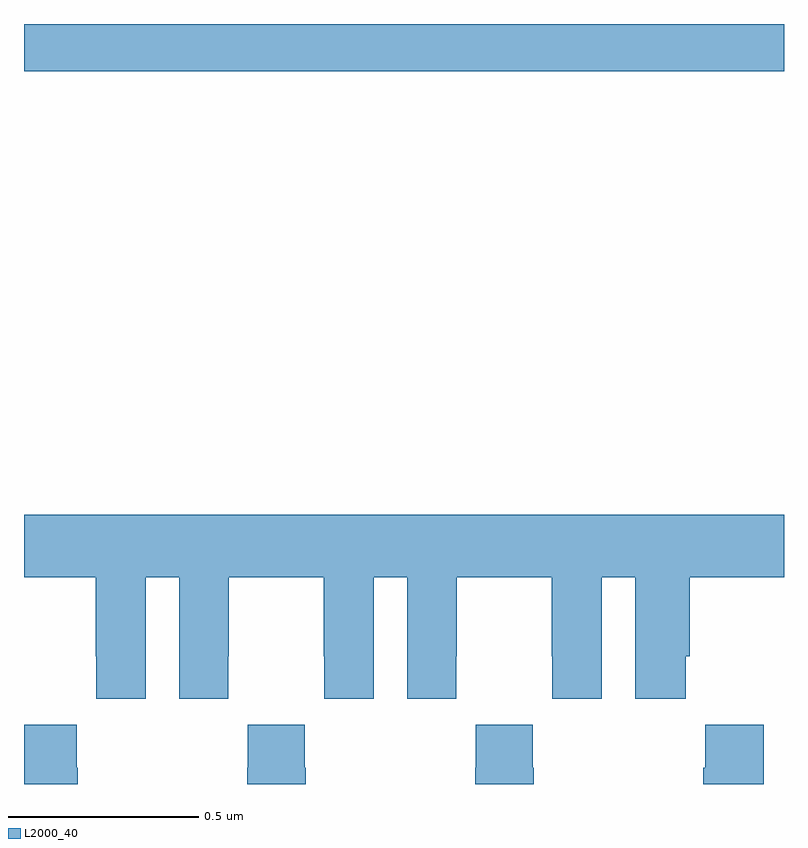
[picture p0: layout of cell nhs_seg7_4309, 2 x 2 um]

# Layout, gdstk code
import gdstk
lib = gdstk.Library(unit=1e-6, precision=1e-09)
def R(c, l, rs):  # rectangles x0, y0, x1, y1
    for r in rs: c.add(gdstk.rectangle(r[:2], r[2:], *l))
def P(c, l, *ps):  # polygons
    for p in ps: c.add(gdstk.Polygon(p, *l))
L2000_40 = (2000, 40)

nhs_seg7_4309 = lib.new_cell('nhs_seg7_4309')
R(nhs_seg7_4309, L2000_40, [(170,1073.876,172,1074)])
P(nhs_seg7_4309, L2000_40, [(170.32,1072.544),(170.408,1072.544),(170.408,1072.224),(170.538,1072.224),(170.538,1072.336),(170.539,1072.336),(170.539,1072.544),(170.789,1072.544),(170.789,1072.336),(170.79,1072.336),(170.79,1072.224),(170.92,1072.224),(170.92,1072.544),(171.008,1072.544),(171.008,1072.224),(171.138,1072.224),(171.138,1072.336),(171.139,1072.336),(171.139,1072.544),(171.389,1072.544),(171.389,1072.336),(171.39,1072.336),(171.39,1072.224),(171.52,1072.224),(171.52,1072.544),(171.608,1072.544),(171.608,1072.224),(171.742,1072.224),(171.742,1072.336),(171.752,1072.336),(171.752,1072.544),(172,1072.544),(172,1072.708),(170,1072.708),(170,1072.544),(170.189,1072.544),(170.189,1072.336),(170.19,1072.336),(170.19,1072.224),(170.32,1072.224)],
  [(170.742,1072.043),(170.739,1072.043),(170.739,1072.156),(170.589,1072.156),(170.589,1072.043),(170.587,1072.043),(170.587,1072),(170.742,1072)],
  [(171.342,1072.043),(171.339,1072.043),(171.339,1072.156),(171.189,1072.156),(171.189,1072.043),(171.187,1072.043),(171.187,1072),(171.342,1072)],
  [(171.947,1072.156),(171.793,1072.156),(171.793,1072.043),(171.787,1072.043),(171.787,1072),(171.947,1072)],
  [(170,1072.156),(170,1072),(170.142,1072),(170.142,1072.043),(170.139,1072.043),(170.139,1072.156)])

lib.write_gds('nhs_seg7_4309.gds')
